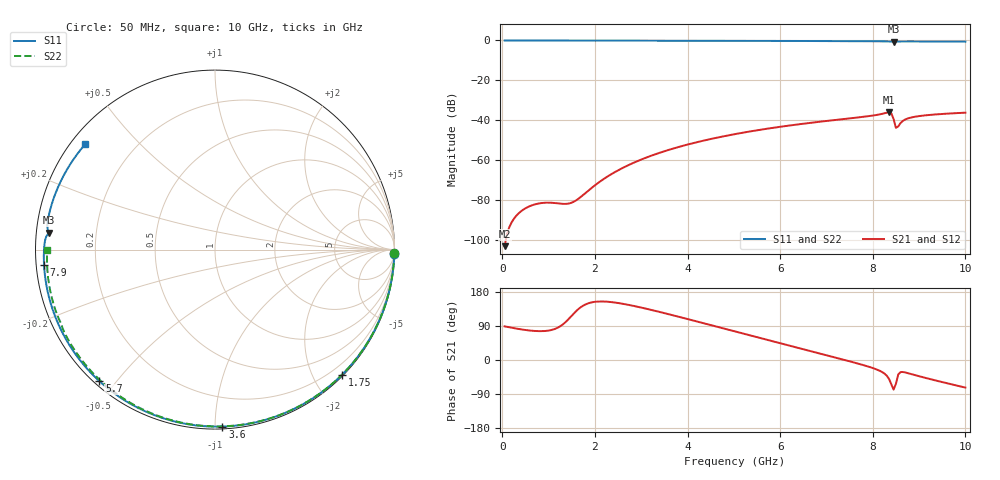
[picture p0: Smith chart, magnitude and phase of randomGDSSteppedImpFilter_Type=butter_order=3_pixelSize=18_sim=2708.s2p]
! freq	dB(S11)	phase(S11)	dB(S12)	phase(S12)
!  dB(S21)	phase(S21)	dB(S22)	phase(S22)
!S-par simulation data
#  GHz  S  DB  R 50
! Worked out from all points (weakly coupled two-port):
!   200 points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, 50 MHz to 10 GHz, reference 50 ohm
!   highest |S21| = -36.06 dB at 8.35 GHz (marker M1); lowest = -103.3 dB at 50 MHz (marker M2)
!   lowest |S11| = -0.6 dB at 8.45 GHz (marker M3), VSWR 27.04, Z = 1.85 + j2.52 ohm
!   |S11| at or under -10 dB: nowhere
!   |S22| runs from -0.6 to 0.0 dB; largest |S21 - S12| = 0
!   S11 on the Smith chart (normalised r, x): 50 MHz: 1, -91; 1.75 GHz: 0.02, -2.44; 3.6 GHz: 0.01, -1.04; 5.7 GHz: 0.01, -0.45; 7.9 GHz: 0.02, -0.04; 10 GHz: 0.04, +0.36
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0.05  -0.00 -1.3  -103.25 88.8  -103.25 88.8  -0.00 -1.0
0.8  -0.03 -20.7  -81.78 76.1  -81.78 76.1  -0.02 -16.7
1.6  -0.05 -40.8  -80.17 129.7  -80.17 129.7  -0.04 -33.1
1.75  -0.06 -44.5  -77.49 143.7  -77.49 143.7  -0.05 -36.1
2.1  -0.07 -53.0  -70.99 154.4  -70.99 154.4  -0.06 -43.1
2.45  -0.08 -61.4  -65.83 151.3  -65.83 151.3  -0.06 -50.0
2.9  -0.09 -71.9  -60.74 141.1  -60.74 141.1  -0.08 -58.7
3.4  -0.11 -83.2  -56.37 126.8  -56.37 126.8  -0.09 -68.1
3.6  -0.11 -87.6  -54.88 120.7  -54.88 120.7  -0.10 -71.8
4.3  -0.14 -102.7  -50.52 98.6  -50.52 98.6  -0.12 -84.5
5.05  -0.18 -118.2  -46.90 74.6  -46.90 74.6  -0.15 -97.7
5.7  -0.21 -131.3  -44.36 53.8  -44.36 53.8  -0.18 -108.8
6.7  -0.28 -151.0  -41.22 22.1  -41.22 22.1  -0.24 -125.3
7.9  -0.39 -174.9  -38.02 -17.2  -38.02 -17.2  -0.34 -144.9
8.35  -0.51 175.5  -36.06 -49.7  -36.06 -49.7  -0.39 -152.3
8.4  -0.59 174.6  -36.53 -63.6  -36.53 -63.6  -0.41 -153.2
8.45  -0.64 174.2  -39.47 -78.1  -39.47 -78.1  -0.43 -153.9
8.5  -0.59 173.7  -43.87 -62.7  -43.87 -62.7  -0.43 -154.6
8.65  -0.49 170.5  -40.37 -31.6  -40.37 -31.6  -0.43 -157.0
8.85  -0.49 166.2  -38.56 -37.8  -38.56 -37.8  -0.44 -160.3
9.4  -0.55 154.3  -37.05 -55.3  -37.05 -55.3  -0.51 -169.5
10  -0.62 140.8  -36.25 -72.8  -36.25 -72.8  -0.58 -179.8
